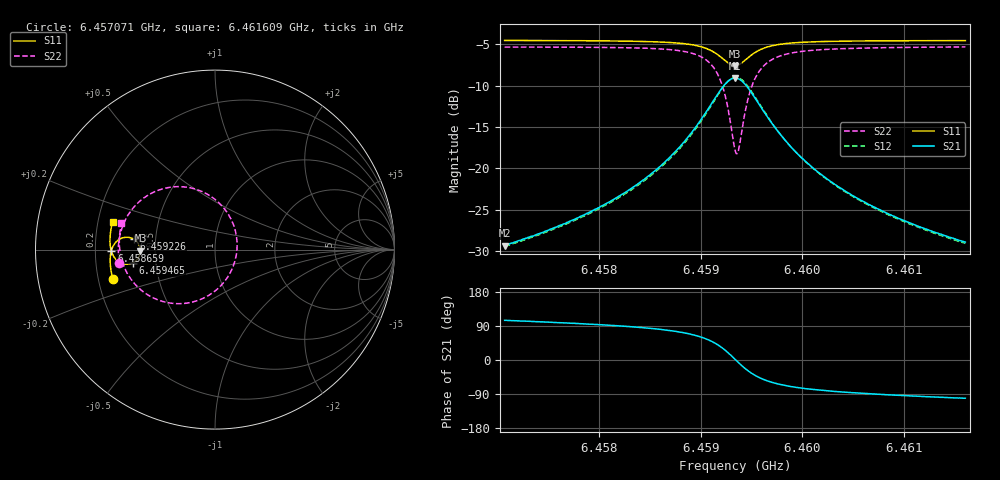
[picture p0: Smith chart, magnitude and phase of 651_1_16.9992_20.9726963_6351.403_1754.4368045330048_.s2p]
#  HZ  S  RI  R  50.00
! Rohde & Schwarz Vector Network Analyzer
! Rohde-Schwarz,ZNB20-2Port,1311601062101988,3.16
! Created: UTC 3/20/2024, 11:21:14 PM
! freq[Hz]  re:S11  im:S11  re:S21  im:S21  re:S12  im:S12  re:S22  im:S22
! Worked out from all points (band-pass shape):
!   401 points, 6.457071 GHz to 6.461609 GHz, reference 50 ohm
!   highest |S21| = -9.09 dB at 6.45934 GHz (marker M1); lowest = -29.4 dB at 6.457071 GHz (marker M2)
!   |S21| within 3 dB of the highest: 6.459114 GHz to 6.459567 GHz (453.5 kHz wide, 0.00702 % of centre)
!   lowest |S11| = -7.6 dB at 6.45934 GHz (marker M3), VSWR 2.42, Z = 20.6 - j0.308 ohm
!   |S11| at or under -10 dB: nowhere
!   |S22| runs from -18.2 to -5.3 dB; largest |S21 - S12| = 0.014
!   S11 on the Smith chart (normalised r, x): 6.457071 GHz: 0.26, -0.13; 6.458659 GHz: 0.27, -0.00; 6.459226 GHz: 0.38, +0.05; 6.459465 GHz: 0.37, -0.07; 6.461609 GHz: 0.26, +0.12
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6.4570709e9  -0.5687 -0.165  -0.00859 0.033  -0.00678 0.0331  -0.5346 -0.0762
6.457831e9  -0.5817 -0.098  -0.00503 0.0512  -0.00244 0.0505  -0.5385 0.0139
6.458262e9  -0.5842 -0.0545  0.00145 0.0715  0.00476 0.0701  -0.5288 0.0835
6.458591e9  -0.5798 -0.0147  0.0156 0.1  0.0194 0.0971  -0.5026 0.1592
6.4586591e9  -0.5775 -0.00517  0.0211 0.1086  0.0251 0.105  -0.4923 0.1794
6.4588519e9  -0.5645 0.0251  0.0481 0.1395  0.0521 0.1344  -0.4412 0.2486
6.4589994e9  -0.5414 0.0513  0.0942 0.1699  0.0973 0.1631  -0.3561 0.3128
6.4591355e9  -0.4969 0.0685  0.1826 0.1862  0.1831 0.1787  -0.1944 0.3508
6.4592263e9  -0.4519 0.0579  0.2733 0.1541  0.2734 0.1484  -0.0258 0.2986
6.4592943e9  -0.4226 0.0252  0.3344 0.081  0.3365 0.0759  0.0909 0.1665
6.4593397e9  -0.4156 -0.00618  0.3508 0.0121  0.3545 0.0053  0.1232 0.0374
6.4593738e9  -0.4196 -0.0303  0.3445 -0.041  0.3487 -0.0503  0.1111 -0.0639
6.4594191e9  -0.4355 -0.0569  0.3154 -0.1021  0.3178 -0.1139  0.0519 -0.1792
6.4594645e9  -0.4579 -0.0734  0.2724 -0.1436  0.2715 -0.1572  -0.0353 -0.2551
6.4595553e9  -0.502 -0.0804  0.186 -0.1747  0.1796 -0.1865  -0.2081 -0.3013
6.4596233e9  -0.5266 -0.073  0.1367 -0.1724  0.1285 -0.1815  -0.3032 -0.2852
6.4597027e9  -0.5463 -0.0597  0.0966 -0.16  0.0878 -0.1663  -0.3786 -0.2496
6.4598615e9  -0.5682 -0.0319  0.0511 -0.1312  0.0433 -0.1341  -0.4599 -0.1755
6.4600998e9  -0.5809 0.00385  0.0217 -0.0989  0.0159 -0.0995  -0.5079 -0.0918
6.4604628e9  -0.5853 0.0471  0.00524 -0.0702  0.00117 -0.0696  -0.5296 -0.00752
6.4608598e9  -0.5833 0.0871  -0.0018 -0.0525  -0.00461 -0.0518  -0.5328 0.0567
6.4616085e9  -0.5708 0.1536  -0.0067 -0.0351  -0.00857 -0.034  -0.521 0.1462
